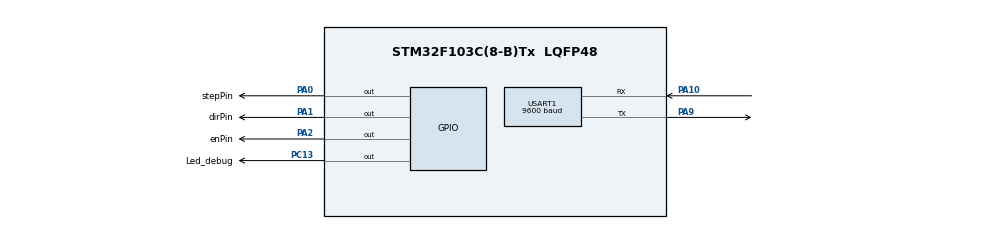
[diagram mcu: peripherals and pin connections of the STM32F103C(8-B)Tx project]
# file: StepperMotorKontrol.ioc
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Mcu.Family=STM32F1
Mcu.Name=STM32F103C(8-B)Tx
Mcu.Package=LQFP48
NVIC.PriorityGroup=NVIC_PRIORITYGROUP_4
PA0-WKUP.GPIO_Label=stepPin
PA0-WKUP.Signal=GPIO_Output
PA1.GPIO_Label=dirPin
PA1.Signal=GPIO_Output
PA10.Mode=Asynchronous
PA10.Signal=USART1_RX
PA13.Mode=Serial_Wire
PA13.Signal=SYS_JTMS-SWDIO
PA14.Mode=Serial_Wire
PA14.Signal=SYS_JTCK-SWCLK
PA2.GPIO_Label=enPin
PA2.Signal=GPIO_Output
PA9.Mode=Asynchronous
PA9.Signal=USART1_TX
PC13-TAMPER-RTC.GPIO_Label=Led_debug
PC13-TAMPER-RTC.Signal=GPIO_Output
ProjectManager.HeapSize=0x200
ProjectManager.StackSize=0x400
ProjectManager.TargetToolchain=STM32CubeIDE
RCC.APB1Freq_Value=8000000
RCC.APB2Freq_Value=8000000
USART1.BaudRate=9600
USART1.VirtualMode=VM_ASYNC
board=custom

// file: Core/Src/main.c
/* USER CODE BEGIN Header */
/**
  ******************************************************************************
  * @file           : main.c
  * @brief          : Main program body
  ******************************************************************************
  * @attention
  *
  * <h2><center>&copy; Copyright (c) 2023 STMicroelectronics.
  * All rights reserved.</center></h2>
  *
  * This software component is licensed by ST under BSD 3-Clause license,
  * the "License"; You may not use this file except in compliance with the
  * License. You may obtain a copy of the License at:
  *                        opensource.org/licenses/BSD-3-Clause
  *
  ******************************************************************************
  */
/* USER CODE END Header */
#include "main.h"

UART_HandleTypeDef huart1;

void SystemClock_Config(void);
static void MX_GPIO_Init(void);
static void MX_USART1_UART_Init(void);

/* USER CODE BEGIN 0 */
uint8_t UART_DATA[25]="Hello Embedotronics\r\n";
/* USER CODE END 0 */

int main(void)
{
  /* USER CODE BEGIN 1 */
  HAL_GPIO_WritePin(enPin_GPIO_Port, enPin_Pin, 0);
  uint16_t state = 1;
  /* USER CODE END 1 */

  /* MCU Configuration--------------------------------------------------------*/

  /* Reset of all peripherals, Initializes the Flash interface and the Systick. */
  HAL_Init();

  /* Configure the system clock */
  SystemClock_Config();

  /* Initialize all configured peripherals */
  MX_GPIO_Init();
  MX_USART1_UART_Init();

  /* Infinite loop */
  while (1)
  {

    /* USER CODE BEGIN 3 */

	  // DIREksi TRUE
	  HAL_GPIO_WritePin(dirPin_GPIO_Port, dirPin_Pin, 1);
	  // 10 adım ileri
	  for(int i = 0; i< 1000; i++)
	  {
		  HAL_GPIO_WritePin(stepPin_GPIO_Port, stepPin_Pin, 0); // step == PULEksi
		  HAL_GPIO_WritePin(stepPin_GPIO_Port, stepPin_Pin, 1);
		  HAL_GPIO_WritePin(Led_debug_GPIO_Port, Led_debug_Pin, state);
		  state = !state;
		  HAL_Delay(10);

	  }
	  HAL_GPIO_WritePin(Led_debug_GPIO_Port, Led_debug_Pin, 0);
	  HAL_Delay(3000);

	  // Geriye dönme olayı
	  HAL_GPIO_WritePin(dirPin_GPIO_Port, dirPin_Pin, 0);
	  for(int i = 0; i< 1000; i++)
	  {
		  HAL_GPIO_WritePin(stepPin_GPIO_Port, stepPin_Pin, 0);
		  HAL_GPIO_WritePin(stepPin_GPIO_Port, stepPin_Pin, 1);
		  HAL_Delay(10);
	  }
	  HAL_GPIO_WritePin(Led_debug_GPIO_Port, Led_debug_Pin, 1);
	  HAL_Delay(3000);

  }
  /* USER CODE END 3 */
}

void SystemClock_Config(void)
{
  RCC_OscInitTypeDef RCC_OscInitStruct = {0};
  RCC_ClkInitTypeDef RCC_ClkInitStruct = {0};

  /** Initializes the RCC Oscillators according to the specified parameters
  * in the RCC_OscInitTypeDef structure.
  */
  RCC_OscInitStruct.OscillatorType = RCC_OSCILLATORTYPE_HSI;
  RCC_OscInitStruct.HSIState = RCC_HSI_ON;
  RCC_OscInitStruct.HSICalibrationValue = RCC_HSICALIBRATION_DEFAULT;
  RCC_OscInitStruct.PLL.PLLState = RCC_PLL_NONE;
  if (HAL_RCC_OscConfig(&RCC_OscInitStruct) != HAL_OK)
  {
    Error_Handler();
  }
  /** Initializes the CPU, AHB and APB buses clocks
  */
  RCC_ClkInitStruct.ClockType = RCC_CLOCKTYPE_HCLK|RCC_CLOCKTYPE_SYSCLK
                              |RCC_CLOCKTYPE_PCLK1|RCC_CLOCKTYPE_PCLK2;
  RCC_ClkInitStruct.SYSCLKSource = RCC_SYSCLKSOURCE_HSI;
  RCC_ClkInitStruct.AHBCLKDivider = RCC_SYSCLK_DIV1;
  RCC_ClkInitStruct.APB1CLKDivider = RCC_HCLK_DIV1;
  RCC_ClkInitStruct.APB2CLKDivider = RCC_HCLK_DIV1;

  if (HAL_RCC_ClockConfig(&RCC_ClkInitStruct, FLASH_LATENCY_0) != HAL_OK)
  {
    Error_Handler();
  }
}

static void MX_USART1_UART_Init(void)
{

  huart1.Instance = USART1;
  huart1.Init.BaudRate = 9600;
  huart1.Init.WordLength = UART_WORDLENGTH_8B;
  huart1.Init.StopBits = UART_STOPBITS_1;
  huart1.Init.Parity = UART_PARITY_NONE;
  huart1.Init.Mode = UART_MODE_TX_RX;
  huart1.Init.HwFlowCtl = UART_HWCONTROL_NONE;
  huart1.Init.OverSampling = UART_OVERSAMPLING_16;
  if (HAL_UART_Init(&huart1) != HAL_OK)
  {
    Error_Handler();
  }

}

static void MX_GPIO_Init(void)
{
  GPIO_InitTypeDef GPIO_InitStruct = {0};

  /* GPIO Ports Clock Enable */
  __HAL_RCC_GPIOC_CLK_ENABLE();
  __HAL_RCC_GPIOA_CLK_ENABLE();

  /*Configure GPIO pin Output Level */
  HAL_GPIO_WritePin(Led_debug_GPIO_Port, Led_debug_Pin, GPIO_PIN_RESET);

  /*Configure GPIO pin Output Level */
  HAL_GPIO_WritePin(GPIOA, stepPin_Pin|dirPin_Pin|enPin_Pin, GPIO_PIN_RESET);

  /*Configure GPIO pin : Led_debug_Pin */
  GPIO_InitStruct.Pin = Led_debug_Pin;
  GPIO_InitStruct.Mode = GPIO_MODE_OUTPUT_PP;
  GPIO_InitStruct.Pull = GPIO_NOPULL;
  GPIO_InitStruct.Speed = GPIO_SPEED_FREQ_LOW;
  HAL_GPIO_Init(Led_debug_GPIO_Port, &GPIO_InitStruct);

  /*Configure GPIO pins : stepPin_Pin dirPin_Pin enPin_Pin */
  GPIO_InitStruct.Pin = stepPin_Pin|dirPin_Pin|enPin_Pin;
  GPIO_InitStruct.Mode = GPIO_MODE_OUTPUT_PP;
  GPIO_InitStruct.Pull = GPIO_NOPULL;
  GPIO_InitStruct.Speed = GPIO_SPEED_FREQ_LOW;
  HAL_GPIO_Init(GPIOA, &GPIO_InitStruct);

}

void Error_Handler(void)
{
  __disable_irq();
  while (1)
  {
  }
}

/************************ (C) COPYRIGHT STMicroelectronics *****END OF FILE****/
